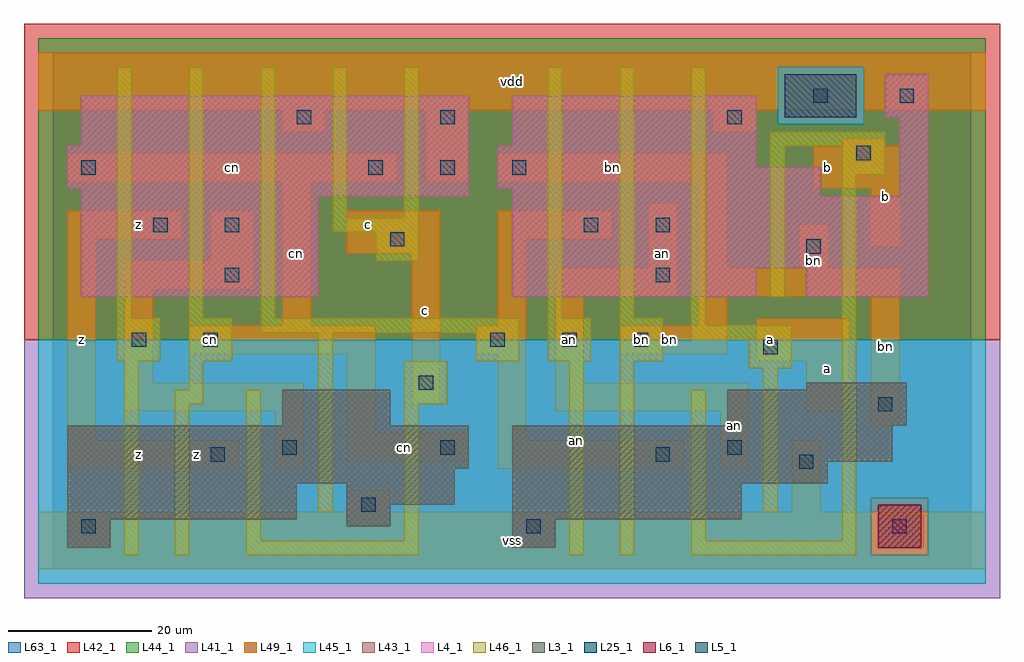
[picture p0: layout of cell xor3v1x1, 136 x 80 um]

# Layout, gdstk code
import gdstk
lib = gdstk.Library(unit=1e-6, precision=1e-09)
def R(c, l, rs):  # rectangles x0, y0, x1, y1
    for r in rs: c.add(gdstk.rectangle(r[:2], r[2:], *l))
def A(c, l, x, y, w, h, nx, ny, dx, dy):  # array of equal rectangles
    R(c, l, [(x+i*dx, y+j*dy, x+i*dx+w, y+j*dy+h) for i in range(nx) for j in range(ny)])
L3_1 = (3, 1)
L4_1 = (4, 1)
L5_1 = (5, 1)
L6_1 = (6, 1)
L25_1 = (25, 1)
L41_1 = (41, 1)
L42_1 = (42, 1)
L43_1 = (43, 1)
L44_1 = (44, 1)
L45_1 = (45, 1)
L46_1 = (46, 1)
L49_1 = (49, 1)
L63_1 = (63, 1)

xor3v1x1 = lib.new_cell('xor3v1x1')
R(xor3v1x1, L3_1, [(2,3,8,7), (64,3,70,7), (41,6,47,9), (2,7,34,12), (64,7,96,12), (41,9,56,12), (2,12,56,14), (64,12,108,15), (2,14,58,20), (64,15,117,20), (32,20,47,25), (94,20,119,25), (105,25,119,26)])
R(xor3v1x1, L4_1, [(4,38,37,52), (64,38,98,42), (105,38,122,42), (64,42,122,52), (4,52,58,53), (64,52,107,53), (118,52,122,63), (2,53,58,59), (62,53,107,56), (62,56,98,59), (4,59,58,66), (64,59,98,66), (116,63,122,69)])
R(xor3v1x1, L5_1, [(102,63,112,69)])
R(xor3v1x1, L6_1, [(115,3,121,9), (115,3,121,9)])
A(xor3v1x1, L25_1, 61, 31, 2, 2, 3, 1, 10, 0)
A(xor3v1x1, L25_1, 44, 55, 2, 2, 3, 1, 10, 0)
R(xor3v1x1, L25_1, [(4,5,6,7), (66,5,68,7), (117,5,119,7), (43,8,45,10), (104,14,106,16), (22,15,24,17), (84,15,86,17), (32,16,34,18), (54,16,56,18), (94,16,96,18), (115,22,117,24), (51,25,53,27), (99,30,101,32), (11,31,13,33), (21,31,23,33), (24,40,26,42), (84,40,86,42), (105,44,107,46), (47,45,49,47), (14,47,16,49), (24,47,26,49), (74,47,76,49), (84,47,86,49), (4,55,6,57), (112,57,114,59), (34,62,36,64), (54,62,56,64), (94,62,96,64), (106,65,108,67), (118,65,120,67)])
R(xor3v1x1, L41_1, [(-4,-4,132,32)])
R(xor3v1x1, L42_1, [(-4,32,132,76)])
R(xor3v1x1, L43_1, [(2,3,8,7), (64,3,70,7), (115,3,121,9), (41,6,47,9), (2,7,34,12), (64,7,96,12), (41,9,56,12), (2,12,56,14), (64,12,108,15), (2,14,58,20), (64,15,117,20), (32,20,47,25), (94,20,119,25), (105,25,119,26), (4,38,37,52), (64,38,98,42), (105,38,122,42), (64,42,122,52), (4,52,58,53), (64,52,107,53), (118,52,122,63), (2,53,58,59), (62,53,107,56), (62,56,98,59), (4,59,58,66), (64,59,98,66), (102,63,112,69), (116,63,122,69)])
R(xor3v1x1, L44_1, [(114,2,122,10), (-2,32,130,62), (-2,62,101,70), (113,62,130,70), (-2,70,130,74)])
R(xor3v1x1, L45_1, [(-2,-2,130,2), (-2,2,114,10), (122,2,130,10), (-2,10,130,32), (101,62,113,70)])
A(xor3v1x1, L46_1, 9, 35, 2, 35, 3, 1, 10, 0)
R(xor3v1x1, L46_1, [(10,2,12,29), (17,2,19,23), (27,2,51,4), (72,2,74,29), (79,2,81,29), (89,2,112,4), (27,4,29,25), (49,4,51,23), (89,4,91,25), (110,4,112,55), (37,8,39,33), (99,8,101,28), (17,23,21,25), (49,23,55,29), (19,25,21,29), (97,28,103,32), (9,29,15,35), (19,29,25,35), (59,29,65,33), (69,29,75,35), (79,29,85,35), (89,32,103,34), (29,33,65,35), (89,34,91,70), (69,35,71,70), (79,35,81,70), (100,38,102,59), (45,43,51,47), (39,47,51,49), (39,49,41,70), (49,49,51,70), (110,55,116,59), (100,59,116,61)])
R(xor3v1x1, L49_1, [(-2,0,130,8), (41,8,47,11), (103,8,107,18), (2,14,26,18), (31,14,35,22), (62,14,88,18), (93,14,97,22), (41,15,58,19), (2,18,6,46), (62,18,66,30), (41,19,45,30), (114,20,118,38), (10,22,35,26), (70,22,97,26), (105,22,111,29), (50,23,54,44), (10,26,14,39), (70,26,74,38), (98,29,111,35), (19,30,45,34), (59,30,66,34), (79,30,94,34), (32,34,36,54), (62,34,66,46), (90,34,94,38), (70,38,87,42), (90,38,118,42), (10,39,28,43), (83,42,87,51), (90,42,94,54), (104,42,108,48), (22,43,28,50), (41,44,54,50), (114,45,118,53), (2,46,18,50), (62,46,78,50), (106,53,118,59), (2,54,48,58), (52,54,58,64), (62,54,94,58), (110,59,116,60), (32,61,38,64), (92,61,98,64), (-2,64,130,72)])
R(xor3v1x1, L63_1, [(0,0,128,72)])
xor3v1x1.add(gdstk.Label('cn', (22,32), layer=49, texttype=1))
xor3v1x1.add(gdstk.Label('an', (73,18), layer=46, texttype=1))
xor3v1x1.add(gdstk.Label('bn', (82,32), layer=49, texttype=1))
xor3v1x1.add(gdstk.Label('z', (12,16), layer=49, texttype=1))
xor3v1x1.add(gdstk.Label('z', (20,16), layer=49, texttype=1))
xor3v1x1.add(gdstk.Label('z', (4,32), layer=49, texttype=1))
xor3v1x1.add(gdstk.Label('z', (12,48), layer=49, texttype=1))
xor3v1x1.add(gdstk.Label('c', (44,48), layer=49, texttype=1))
xor3v1x1.add(gdstk.Label('cn', (25,56), layer=49, texttype=1))
xor3v1x1.add(gdstk.Label('cn', (34,44), layer=49, texttype=1))
xor3v1x1.add(gdstk.Label('vss', (64,4), layer=49, texttype=1))
xor3v1x1.add(gdstk.Label('cn', (49,17), layer=49, texttype=1))
xor3v1x1.add(gdstk.Label('an', (72,32), layer=49, texttype=1))
xor3v1x1.add(gdstk.Label('c', (52,36), layer=49, texttype=1))
xor3v1x1.add(gdstk.Label('vdd', (64,68), layer=49, texttype=1))
xor3v1x1.add(gdstk.Label('an', (95,20), layer=49, texttype=1))
xor3v1x1.add(gdstk.Label('a', (100,32), layer=49, texttype=1))
xor3v1x1.add(gdstk.Label('bn', (86,32), layer=49, texttype=1))
xor3v1x1.add(gdstk.Label('an', (85,44), layer=49, texttype=1))
xor3v1x1.add(gdstk.Label('bn', (78,56), layer=49, texttype=1))
xor3v1x1.add(gdstk.Label('a', (108,28), layer=49, texttype=1))
xor3v1x1.add(gdstk.Label('bn', (116,31), layer=49, texttype=1))
xor3v1x1.add(gdstk.Label('bn', (106,43), layer=49, texttype=1))
xor3v1x1.add(gdstk.Label('b', (116,52), layer=49, texttype=1))
xor3v1x1.add(gdstk.Label('b', (108,56), layer=49, texttype=1))

lib.write_gds('xor3v1x1.gds')
